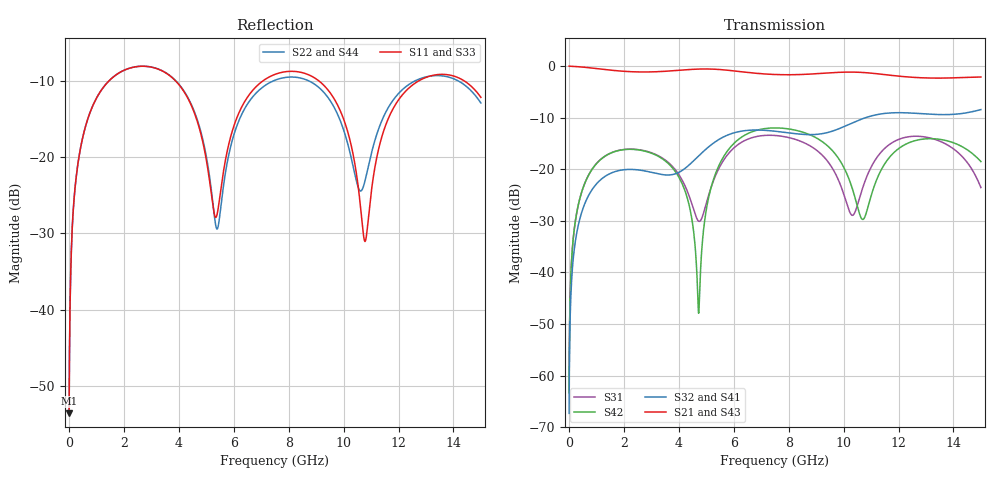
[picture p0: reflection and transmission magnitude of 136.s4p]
! Created with skrf 1.8.0 (http://scikit-rf.org).
# GHz S RI R 50.0
!freq ReS11 ImS11 ReS12 ImS12 ReS13 ImS13
! ReS14 ImS14
! ReS21 ImS21 ReS22 ImS22 ReS23 ImS23
! ReS24 ImS24
! ReS31 ImS31 ReS32 ImS32 ReS33 ImS33
! ReS34 ImS34
! ReS41 ImS41 ReS42 ImS42 ReS43 ImS43
! ReS44 ImS44
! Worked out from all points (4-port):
!   2499 points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, 5 MHz to 15 GHz, reference 50 ohm
!   strongest paths, dB at 5 MHz, 3.476 GHz, 7.19 GHz, 11.1 GHz, 15 GHz:
!     S21: 0.0, -1.0, -1.5, -1.4, -2.1
!     S43: 0.0, -1.0, -1.5, -1.4, -2.1
!     S32: -67.3, -21.1, -12.5, -9.5, -8.4
!     S41: -67.3, -21.1, -12.5, -9.6, -8.4
!     S42: -63.3, -18.3, -12.1, -23.5, -18.5
!     S31: -63.3, -18.1, -13.4, -18.7, -23.5
!   lowest |S11| = -53.6 dB at 5 MHz (marker M1), VSWR 1.00, Z = 50.2 + j0.127 ohm
!   |S11| at or under -10 dB: start of sweep to 1.465 GHz; 3.874 GHz to 7.074 GHz (3.2 GHz wide, 58.5 % of centre); 9.089 GHz to 12.75 GHz (3.661 GHz wide, 33.5 % of centre) (the widest 3 of 4)
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0.005  0.00167 0.00127  0.9983 -0.00326  8.46e-05 0.000677  -8.21e-05 -0.000422
       0.9983 -0.00326  0.00167 0.00127  -8.21e-05 -0.000422  8.46e-05 0.000677
       8.46e-05 0.000677  -8.21e-05 -0.000422  0.00167 0.00127  0.9983 -0.00326
       -8.21e-05 -0.000422  8.46e-05 0.000677  0.9983 -0.00326  0.00167 0.00127
0.3126303  0.0249 0.0833  0.966 -0.2024  0.0117 0.0401  -0.00967 -0.0247
           0.966 -0.2024  0.0249 0.0833  -0.00967 -0.0247  0.0116 0.0401
           0.0117 0.0401  -0.00967 -0.0247  0.0249 0.0833  0.966 -0.2024
           -0.00967 -0.0247  0.0116 0.0401  0.966 -0.2024  0.0249 0.0833
1.569404  0.2794 0.1742  0.5284 -0.7414  0.1331 0.0588  -0.0925 -0.00283
          0.5284 -0.7414  0.2795 0.1741  -0.0926 -0.00275  0.1323 0.0599
          0.1331 0.0588  -0.0926 -0.00275  0.2793 0.1742  0.5284 -0.7414
          -0.0925 -0.00283  0.1323 0.0599  0.5284 -0.7414  0.2795 0.1741
4.720717  0.088 -0.1341  -0.8361 -0.42  -0.0278 -0.0145  -0.0568 0.1219
          -0.8361 -0.42  0.0859 -0.1407  -0.056 0.1223  0.00395 0.000732
          -0.0278 -0.0145  -0.056 0.1223  0.087 -0.1338  -0.8362 -0.42
          -0.0568 0.1219  0.00395 0.000732  -0.8362 -0.42  0.0863 -0.1398
8.378491  0.3528 -0.0744  0.0165 0.8275  0.1863 -0.0338  0.2014 -0.0825
          0.0165 0.8275  0.3285 -0.036  0.2019 -0.0858  0.1902 -0.137
          0.1863 -0.0338  0.2019 -0.0858  0.3532 -0.0709  0.0158 0.8272
          0.2014 -0.0825  0.1902 -0.137  0.0158 0.8272  0.3302 -0.0394
10.77949  0.0279 -0.00226  0.8552 0.1256  0.052 0.0562  0.0386 -0.3124
          0.8552 0.1256  0.0621 0.0319  0.0334 -0.3131  -0.0226 0.0265
          0.052 0.0562  0.0334 -0.3131  0.0284 -0.00401  0.855 0.1276
          0.0386 -0.3124  -0.0226 0.0265  0.855 0.1276  0.0616 0.0299
15  0.2034 -0.138  -0.4577 -0.6362  -0.0165 -0.0644  -0.3008 0.2294
    -0.4577 -0.6362  0.2009 -0.103  -0.2941 0.2385  -0.044 -0.1103
    -0.0165 -0.0644  -0.2941 0.2385  0.2121 -0.1276  -0.4548 -0.6383
    -0.3008 0.2294  -0.044 -0.1103  -0.4548 -0.6383  0.1943 -0.1143
